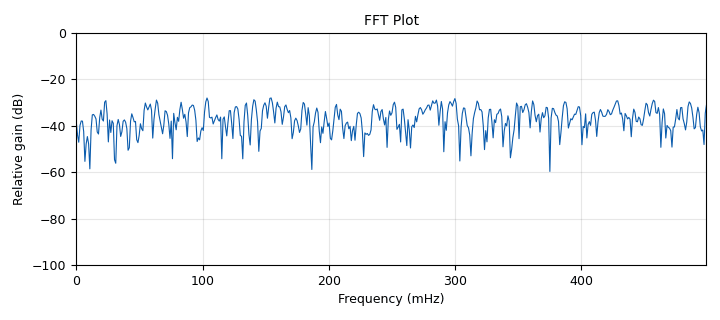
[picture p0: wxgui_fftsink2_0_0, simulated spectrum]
<?xml version='1.0' encoding='utf-8'?>
<?grc format='1' created='3.7.6'?>
<flow_graph>
<block>
<key>options</key>
<param><key>id</key><value>top_block</value></param>
<param><key>generate_options</key><value>wx_gui</value></param>
<param><key>category</key><value>Custom</value></param>
</block>
<block>
<key>variable</key>
<param><key>id</key><value>samp_rate</value></param>
<param><key>value</key><value>1</value></param>
</block>
<block>
<key>blocks_file_sink</key>
<param><key>id</key><value>blocks_file_sink_0</value></param>
<param><key>file</key><value>/Users/jaykickliter/test_out.dat</value></param>
<param><key>type</key><value>float</value></param>
</block>
<block>
<key>wxgui_fftsink2</key>
<param><key>id</key><value>wxgui_fftsink2_0</value></param>
<param><key>type</key><value>float</value></param>
<param><key>title</key><value>FFT Plot</value></param>
<param><key>samp_rate</key><value>samp_rate</value></param>
<param><key>baseband_freq</key><value>0</value></param>
<param><key>y_per_div</key><value>10</value></param>
<param><key>y_divs</key><value>10</value></param>
<param><key>ref_level</key><value>0</value></param>
<param><key>ref_scale</key><value>2.0</value></param>
<param><key>fft_size</key><value>1024</value></param>
<param><key>fft_rate</key><value>15</value></param>
<param><key>peak_hold</key><value>False</value></param>
<param><key>average</key><value>False</value></param>
<param><key>avg_alpha</key><value>0</value></param>
<param><key>win</key><value>None</value></param>
<param><key>freqvar</key><value>None</value></param>
</block>
<block>
<key>juliaffi_juliablock_xx</key>
<param><key>id</key><value>juliaffi_juliablock_xx_0_0_0</value></param>
<param><key>file</key><value>/Users/jaykickliter/repos/gr-juliaffi/examples/FIRFilter.jl</value></param>
<param><key>minoutbuf</key><value>1024</value></param>
</block>
<block>
<key>analog_fastnoise_source_x</key>
<param><key>id</key><value>analog_fastnoise_source_x_0</value></param>
<param><key>type</key><value>float</value></param>
<param><key>noise_type</key><value>analog.GR_UNIFORM</value></param>
<param><key>amp</key><value>1</value></param>
<param><key>seed</key><value>0</value></param>
<param><key>samples</key><value>8192</value></param>
</block>
<block>
<key>wxgui_fftsink2</key>
<param><key>id</key><value>wxgui_fftsink2_0_0</value></param>
<param><key>type</key><value>float</value></param>
<param><key>title</key><value>FFT Plot</value></param>
<param><key>samp_rate</key><value>samp_rate</value></param>
<param><key>baseband_freq</key><value>0</value></param>
<param><key>y_per_div</key><value>10</value></param>
<param><key>y_divs</key><value>10</value></param>
<param><key>ref_level</key><value>0</value></param>
<param><key>ref_scale</key><value>2.0</value></param>
<param><key>fft_size</key><value>1024</value></param>
<param><key>fft_rate</key><value>15</value></param>
<param><key>peak_hold</key><value>False</value></param>
<param><key>average</key><value>False</value></param>
<param><key>avg_alpha</key><value>0</value></param>
<param><key>win</key><value>None</value></param>
<param><key>freqvar</key><value>None</value></param>
</block>
<connection><source_block_id>juliaffi_juliablock_xx_0_0_0</source_block_id><sink_block_id>wxgui_fftsink2_0</sink_block_id><source_key>0</source_key><sink_key>0</sink_key></connection>
<connection><source_block_id>analog_fastnoise_source_x_0</source_block_id><sink_block_id>juliaffi_juliablock_xx_0_0_0</sink_block_id><source_key>0</source_key><sink_key>0</sink_key></connection>
<connection><source_block_id>juliaffi_juliablock_xx_0_0_0</source_block_id><sink_block_id>blocks_file_sink_0</sink_block_id><source_key>0</source_key><sink_key>0</sink_key></connection>
<connection><source_block_id>analog_fastnoise_source_x_0</source_block_id><sink_block_id>wxgui_fftsink2_0_0</sink_block_id><source_key>0</source_key><sink_key>0</sink_key></connection>
</flow_graph>
